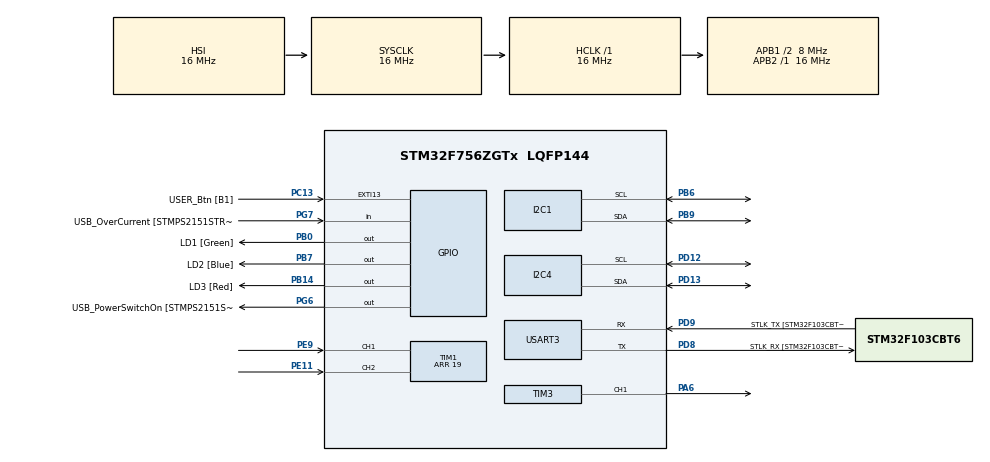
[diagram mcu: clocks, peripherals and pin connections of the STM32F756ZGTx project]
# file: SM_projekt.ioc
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I2C1.Timing=0x2000090E
I2C4.Timing=0x2000090E
Mcu.Family=STM32F7
Mcu.Name=STM32F756ZGTx
Mcu.Package=LQFP144
NVIC.PriorityGroup=NVIC_PRIORITYGROUP_4
PA1.GPIO_Label=RMII_REF_CLK [LAN8742A-CZ-TR_REFCLK0]
PA1.Signal=ETH_REF_CLK
PA10.GPIO_Label=USB_ID
PA10.Signal=USB_OTG_FS_ID
PA11.GPIO_Label=USB_DM
PA11.Signal=USB_OTG_FS_DM
PA12.GPIO_Label=USB_DP
PA12.Signal=USB_OTG_FS_DP
PA13.GPIO_Label=TMS
PA13.Mode=Serial_Wire
PA13.Signal=SYS_JTMS-SWDIO
PA14.GPIO_Label=TCK
PA14.Mode=Serial_Wire
PA14.Signal=SYS_JTCK-SWCLK
PA2.GPIO_Label=RMII_MDIO [LAN8742A-CZ-TR_MDIO]
PA2.Signal=ETH_MDIO
PA6.Signal=S_TIM3_CH1
PA7.GPIO_Label=RMII_CRS_DV [LAN8742A-CZ-TR_CRS_DV]
PA7.Signal=ETH_CRS_DV
PA8.GPIO_Label=USB_SOF [TP1]
PA8.Signal=USB_OTG_FS_SOF
PA9.GPIO_Label=USB_VBUS
PA9.Signal=USB_OTG_FS_VBUS
PB0.GPIO_Label=LD1 [Green]
PB0.Signal=GPIO_Output
PB13.GPIO_Label=RMII_TXD1 [LAN8742A-CZ-TR_TXD1]
PB13.Signal=ETH_TXD1
PB14.GPIO_Label=LD3 [Red]
PB14.Signal=GPIO_Output
PB3.GPIO_Label=SW0
PB3.Signal=SYS_JTDO-SWO
PB6.Mode=I2C
PB6.Signal=I2C1_SCL
PB7.GPIO_Label=LD2 [Blue]
PB7.Signal=GPIO_Output
PB9.Mode=I2C
PB9.Signal=I2C1_SDA
PC1.GPIO_Label=RMII_MDC [LAN8742A-CZ-TR_MDC]
PC1.Signal=ETH_MDC
PC13.GPIO_Label=USER_Btn [B1]
PC13.Signal=GPXTI13
PC14/OSC32_IN.Signal=RCC_OSC32_IN
PC15/OSC32_OUT.Signal=RCC_OSC32_OUT
PC4.GPIO_Label=RMII_RXD0 [LAN8742A-CZ-TR_RXD0]
PC4.Signal=ETH_RXD0
PC5.GPIO_Label=RMII_RXD1 [LAN8742A-CZ-TR_RXD1]
PC5.Signal=ETH_RXD1
PD12.Mode=I2C
PD12.Signal=I2C4_SCL
PD13.Mode=I2C
PD13.Signal=I2C4_SDA
PD8.GPIO_Label=STLK_RX [STM32F103CBT6_PA3]
PD8.Mode=Asynchronous
PD8.Signal=USART3_TX
PD9.GPIO_Label=STLK_TX [STM32F103CBT6_PA2]
PD9.Mode=Asynchronous
PD9.Signal=USART3_RX
PE11.Signal=S_TIM1_CH2
PE9.Signal=S_TIM1_CH1
PG11.GPIO_Label=RMII_TX_EN [LAN8742A-CZ-TR_TXEN]
PG11.Signal=ETH_TX_EN
PG13.GPIO_Label=RMII_TXD0 [LAN8742A-CZ-TR_TXD0]
PG13.Signal=ETH_TXD0
PG6.GPIO_Label=USB_PowerSwitchOn [STMPS2151STR_EN]
PG6.Signal=GPIO_Output
PG7.GPIO_Label=USB_OverCurrent [STMPS2151STR_FAULT]
PG7.Signal=GPIO_Input
PH0/OSC_IN.GPIO_Label=MCO [STM32F103CBT6_PA8]
PH0/OSC_IN.Signal=RCC_OSC_IN
PH1/OSC_OUT.Signal=RCC_OSC_OUT
ProjectManager.HeapSize=0x200
ProjectManager.StackSize=0x400
ProjectManager.TargetToolchain=STM32CubeIDE
RCC.48MHZClocksFreq_Value=24000000
RCC.AHBFreq_Value=16000000
RCC.APB1CLKDivider=RCC_HCLK_DIV2
RCC.APB1Freq_Value=8000000
RCC.APB1TimFreq_Value=16000000
RCC.APB2Freq_Value=16000000
RCC.APB2TimFreq_Value=16000000
RCC.CortexFreq_Value=16000000
RCC.HCLKFreq_Value=16000000
RCC.HSE_VALUE=8000000
RCC.HSI_VALUE=16000000
RCC.LSE_VALUE=32768
RCC.PLLMUL=RCC_PLL_MUL9
RCC.PRESCALERUSB=RCC_USBCLKSOURCE_PLL_DIV1_5
RCC.SYSCLKFreq_VALUE=16000000
RCC.SYSCLKSourceVirtual=RCC_SYSCLKSOURCE_PLLCLK
RCC.USBFreq_Value=96000000
RCC.VCOOutputFreq_Value=192000000
SH.S_TIM1_CH1.0=TIM1_CH1,Encoder_Interface
SH.S_TIM1_CH2.0=TIM1_CH2,Encoder_Interface
SH.S_TIM3_CH1.0=TIM3_CH1,PWM Generation1 CH1
TIM1.Period=19
TIM3.AutoReloadPreload=TIM_AUTORELOAD_PRELOAD_ENABLE
TIM3.Channel-PWM\ Generation1\ CH1=TIM_CHANNEL_1
TIM3.Period=999
TIM3.Prescaler=71
USART3.VirtualMode-Asynchronous=VM_ASYNC
VP_TIM3_VS_ClockSourceINT.Mode=Internal
board=NUCLEO-F756ZG

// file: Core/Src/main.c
/* USER CODE BEGIN Header */
/**
  ******************************************************************************
  * @file           : main.c
  * @brief          : Main program body
  ******************************************************************************
  * @attention
  *
  * Copyright (c) 2022 STMicroelectronics.
  * All rights reserved.
  *
  * This software is licensed under terms that can be found in the LICENSE file
  * in the root directory of this software component.
  * If no LICENSE file comes with this software, it is provided AS-IS.
  *
  ******************************************************************************
  */
/* USER CODE END Header */
#include "main.h"

/* USER CODE BEGIN Includes */
#include "BMPXX80.h"
#include "i2c-lcd.h"
#include <stdio.h>
#include <stdint.h>

/* USER CODE END Includes */

/* USER CODE BEGIN PM */
//#define COUNTOF (_BUFFER_) (sizeof(_BUFFER_)/ sizeof(*(_BUFFER_)))
/* USER CODE END PM */

I2C_HandleTypeDef hi2c1;
I2C_HandleTypeDef hi2c4;

TIM_HandleTypeDef htim1;
TIM_HandleTypeDef htim3;

UART_HandleTypeDef huart3;

/* USER CODE BEGIN PV */
float temperature;
uint32_t pressure;
char text[50];
typedef struct{
	float Kp;
	float Ki;
	float Kd;
	float dt;
	float pre_err;
	float pre_int;
}pid_params;

const float dt=0.01;
pid_params pid1 = {.Kp=3,
				   .Ki=0.01,
				   .Kd=0.5,
				   .dt=dt,
				   .pre_err=0,
				   .pre_int=0};

float u_ster=0.0;
float impulsy=0;
float y_offset=22.0;
float y_ref;

/* USER CODE END PV */

void SystemClock_Config(void);
static void MX_GPIO_Init(void);
static void MX_I2C1_Init(void);
static void MX_TIM3_Init(void);
static void MX_I2C4_Init(void);
static void MX_USART3_UART_Init(void);
static void MX_TIM1_Init(void);

/* USER CODE BEGIN 0 */
float pid_controller(pid_params* pid, float y_ref, float y_measured){

	float  P, I, D, error, integral, derivative, u=0,PWM;
	uint16_t PWM_sat;

	//wyznaczanie uchybu
	error = y_ref-y_measured;

	//obliczanie części proporcjonalnej
	P = pid->Kp * error;

	//obliczanie części całkującej
	integral = pid->pre_int + (error + pid->pre_err);
	pid->pre_int = integral;
	I = pid->Ki*integral*(pid->dt/2.0);

	//obliczanie części różniczkującej
	derivative = (error - pid->pre_err)/pid->dt;
	pid->pre_err = error;

	D = pid->Kd*derivative;

	//wyznaczanie sygnału sterującego w postaci PWM z uwzględnieniem nasycenia
	u = P  + I + D;
	PWM=u*999.0;
	if(PWM>999.0)
	{
		PWM_sat=999;
	}
	else if(PWM<0.0)
	{
		PWM_sat=0;
	}
	else
	{
		PWM_sat=(uint16_t)PWM;
	}
	return PWM_sat;
}
/* USER CODE END 0 */

int main(void)
{

  /* MCU Configuration--------------------------------------------------------*/

  /* Reset of all peripherals, Initializes the Flash interface and the Systick. */
  HAL_Init();

  /* Configure the system clock */
  SystemClock_Config();

  /* Initialize all configured peripherals */
  MX_GPIO_Init();
  MX_I2C1_Init();
  MX_TIM3_Init();
  MX_I2C4_Init();
  MX_USART3_UART_Init();
  MX_TIM1_Init();
  /* USER CODE BEGIN 2 */
  BMP280_Init(&hi2c1, BMP280_TEMPERATURE_16BIT, BMP280_STANDARD, BMP280_FORCEDMODE);
  HAL_TIM_PWM_Start (&htim3, TIM_CHANNEL_1);
  lcd_init ();
  HAL_TIM_Encoder_Start(&htim1,TIM_CHANNEL_ALL);
  /* USER CODE END 2 */

  /* Infinite loop */
  while (1)
  {

    /* USER CODE BEGIN 3 */

	  //pobieranie wartości zadanej z enkodera
	  impulsy = __HAL_TIM_GET_COUNTER(&htim1);
	  y_ref=y_offset+(impulsy/4);

	  //pobieranie aktualnej temperatury
	  BMP280_ReadTemperatureAndPressure(&temperature, &pressure);

	  //wyznaczanie sygnału sterującego oraz podanie go w formie PWM
	  u_ster=pid_controller(&pid1, y_ref, temperature);
	  __HAL_TIM_SET_COMPARE(&htim3, TIM_CHANNEL_1, u_ster);

	  //obsługa wyświetlacza LCD
	  sprintf((char*)text, "%.2f, ", temperature);
	  lcd_clear ();
	  lcd_put_cur(0, 0);
	  sprintf((char*)text, "Temp akt: %.2fC", temperature);
	  lcd_send_string(text);
	  lcd_put_cur(1, 0);
	  sprintf((char*)text, "Zadana: %.2fC", y_ref);
	  lcd_send_string(text);

	  //obsługa wysyłania danych przez port szeregowy
	  uint16_t len = sprintf((char*)text,"%.2f,%.2f\n\r",temperature,u_ster);
	  HAL_UART_Transmit(&huart3, (uint8_t*)text,len,50);
	  HAL_Delay(10);

  }
  /* USER CODE END 3 */
}

void SystemClock_Config(void)
{
  RCC_OscInitTypeDef RCC_OscInitStruct = {0};
  RCC_ClkInitTypeDef RCC_ClkInitStruct = {0};

  /** Configure the main internal regulator output voltage
  */
  __HAL_RCC_PWR_CLK_ENABLE();
  __HAL_PWR_VOLTAGESCALING_CONFIG(PWR_REGULATOR_VOLTAGE_SCALE3);
  /** Initializes the RCC Oscillators according to the specified parameters
  * in the RCC_OscInitTypeDef structure.
  */
  RCC_OscInitStruct.OscillatorType = RCC_OSCILLATORTYPE_HSI;
  RCC_OscInitStruct.HSIState = RCC_HSI_ON;
  RCC_OscInitStruct.HSICalibrationValue = RCC_HSICALIBRATION_DEFAULT;
  RCC_OscInitStruct.PLL.PLLState = RCC_PLL_NONE;
  if (HAL_RCC_OscConfig(&RCC_OscInitStruct) != HAL_OK)
  {
    Error_Handler();
  }
  /** Initializes the CPU, AHB and APB buses clocks
  */
  RCC_ClkInitStruct.ClockType = RCC_CLOCKTYPE_HCLK|RCC_CLOCKTYPE_SYSCLK
                              |RCC_CLOCKTYPE_PCLK1|RCC_CLOCKTYPE_PCLK2;
  RCC_ClkInitStruct.SYSCLKSource = RCC_SYSCLKSOURCE_HSI;
  RCC_ClkInitStruct.AHBCLKDivider = RCC_SYSCLK_DIV1;
  RCC_ClkInitStruct.APB1CLKDivider = RCC_HCLK_DIV2;
  RCC_ClkInitStruct.APB2CLKDivider = RCC_HCLK_DIV1;

  if (HAL_RCC_ClockConfig(&RCC_ClkInitStruct, FLASH_LATENCY_0) != HAL_OK)
  {
    Error_Handler();
  }
}

static void MX_I2C1_Init(void)
{

  hi2c1.Instance = I2C1;
  hi2c1.Init.Timing = 0x2000090E;
  hi2c1.Init.OwnAddress1 = 0;
  hi2c1.Init.AddressingMode = I2C_ADDRESSINGMODE_7BIT;
  hi2c1.Init.DualAddressMode = I2C_DUALADDRESS_DISABLE;
  hi2c1.Init.OwnAddress2 = 0;
  hi2c1.Init.OwnAddress2Masks = I2C_OA2_NOMASK;
  hi2c1.Init.GeneralCallMode = I2C_GENERALCALL_DISABLE;
  hi2c1.Init.NoStretchMode = I2C_NOSTRETCH_DISABLE;
  if (HAL_I2C_Init(&hi2c1) != HAL_OK)
  {
    Error_Handler();
  }
  /** Configure Analogue filter
  */
  if (HAL_I2CEx_ConfigAnalogFilter(&hi2c1, I2C_ANALOGFILTER_ENABLE) != HAL_OK)
  {
    Error_Handler();
  }
  /** Configure Digital filter
  */
  if (HAL_I2CEx_ConfigDigitalFilter(&hi2c1, 0) != HAL_OK)
  {
    Error_Handler();
  }

}

static void MX_I2C4_Init(void)
{

  hi2c4.Instance = I2C4;
  hi2c4.Init.Timing = 0x2000090E;
  hi2c4.Init.OwnAddress1 = 0;
  hi2c4.Init.AddressingMode = I2C_ADDRESSINGMODE_7BIT;
  hi2c4.Init.DualAddressMode = I2C_DUALADDRESS_DISABLE;
  hi2c4.Init.OwnAddress2 = 0;
  hi2c4.Init.OwnAddress2Masks = I2C_OA2_NOMASK;
  hi2c4.Init.GeneralCallMode = I2C_GENERALCALL_DISABLE;
  hi2c4.Init.NoStretchMode = I2C_NOSTRETCH_DISABLE;
  if (HAL_I2C_Init(&hi2c4) != HAL_OK)
  {
    Error_Handler();
  }
  /** Configure Analogue filter
  */
  if (HAL_I2CEx_ConfigAnalogFilter(&hi2c4, I2C_ANALOGFILTER_ENABLE) != HAL_OK)
  {
    Error_Handler();
  }
  /** Configure Digital filter
  */
  if (HAL_I2CEx_ConfigDigitalFilter(&hi2c4, 0) != HAL_OK)
  {
    Error_Handler();
  }

}

static void MX_TIM1_Init(void)
{

  TIM_Encoder_InitTypeDef sConfig = {0};
  TIM_MasterConfigTypeDef sMasterConfig = {0};

  htim1.Instance = TIM1;
  htim1.Init.Prescaler = 0;
  htim1.Init.CounterMode = TIM_COUNTERMODE_UP;
  htim1.Init.Period = 19;
  htim1.Init.ClockDivision = TIM_CLOCKDIVISION_DIV1;
  htim1.Init.RepetitionCounter = 0;
  htim1.Init.AutoReloadPreload = TIM_AUTORELOAD_PRELOAD_DISABLE;
  sConfig.EncoderMode = TIM_ENCODERMODE_TI1;
  sConfig.IC1Polarity = TIM_ICPOLARITY_RISING;
  sConfig.IC1Selection = TIM_ICSELECTION_DIRECTTI;
  sConfig.IC1Prescaler = TIM_ICPSC_DIV1;
  sConfig.IC1Filter = 0;
  sConfig.IC2Polarity = TIM_ICPOLARITY_RISING;
  sConfig.IC2Selection = TIM_ICSELECTION_DIRECTTI;
  sConfig.IC2Prescaler = TIM_ICPSC_DIV1;
  sConfig.IC2Filter = 0;
  if (HAL_TIM_Encoder_Init(&htim1, &sConfig) != HAL_OK)
  {
    Error_Handler();
  }
  sMasterConfig.MasterOutputTrigger = TIM_TRGO_RESET;
  sMasterConfig.MasterOutputTrigger2 = TIM_TRGO2_RESET;
  sMasterConfig.MasterSlaveMode = TIM_MASTERSLAVEMODE_DISABLE;
  if (HAL_TIMEx_MasterConfigSynchronization(&htim1, &sMasterConfig) != HAL_OK)
  {
    Error_Handler();
  }

}

static void MX_TIM3_Init(void)
{

  TIM_ClockConfigTypeDef sClockSourceConfig = {0};
  TIM_MasterConfigTypeDef sMasterConfig = {0};
  TIM_OC_InitTypeDef sConfigOC = {0};

  htim3.Instance = TIM3;
  htim3.Init.Prescaler = 71;
  htim3.Init.CounterMode = TIM_COUNTERMODE_UP;
  htim3.Init.Period = 999;
  htim3.Init.ClockDivision = TIM_CLOCKDIVISION_DIV1;
  htim3.Init.AutoReloadPreload = TIM_AUTORELOAD_PRELOAD_ENABLE;
  if (HAL_TIM_Base_Init(&htim3) != HAL_OK)
  {
    Error_Handler();
  }
  sClockSourceConfig.ClockSource = TIM_CLOCKSOURCE_INTERNAL;
  if (HAL_TIM_ConfigClockSource(&htim3, &sClockSourceConfig) != HAL_OK)
  {
    Error_Handler();
  }
  if (HAL_TIM_PWM_Init(&htim3) != HAL_OK)
  {
    Error_Handler();
  }
  sMasterConfig.MasterOutputTrigger = TIM_TRGO_RESET;
  sMasterConfig.MasterSlaveMode = TIM_MASTERSLAVEMODE_DISABLE;
  if (HAL_TIMEx_MasterConfigSynchronization(&htim3, &sMasterConfig) != HAL_OK)
  {
    Error_Handler();
  }
  sConfigOC.OCMode = TIM_OCMODE_PWM1;
  sConfigOC.Pulse = 0;
  sConfigOC.OCPolarity = TIM_OCPOLARITY_HIGH;
  sConfigOC.OCFastMode = TIM_OCFAST_DISABLE;
  if (HAL_TIM_PWM_ConfigChannel(&htim3, &sConfigOC, TIM_CHANNEL_1) != HAL_OK)
  {
    Error_Handler();
  }
  HAL_TIM_MspPostInit(&htim3);

}

static void MX_USART3_UART_Init(void)
{

  huart3.Instance = USART3;
  huart3.Init.BaudRate = 115200;
  huart3.Init.WordLength = UART_WORDLENGTH_8B;
  huart3.Init.StopBits = UART_STOPBITS_1;
  huart3.Init.Parity = UART_PARITY_NONE;
  huart3.Init.Mode = UART_MODE_TX_RX;
  huart3.Init.HwFlowCtl = UART_HWCONTROL_NONE;
  huart3.Init.OverSampling = UART_OVERSAMPLING_16;
  huart3.Init.OneBitSampling = UART_ONE_BIT_SAMPLE_DISABLE;
  huart3.AdvancedInit.AdvFeatureInit = UART_ADVFEATURE_NO_INIT;
  if (HAL_UART_Init(&huart3) != HAL_OK)
  {
    Error_Handler();
  }

}

static void MX_GPIO_Init(void)
{
  GPIO_InitTypeDef GPIO_InitStruct = {0};

  /* GPIO Ports Clock Enable */
  __HAL_RCC_GPIOC_CLK_ENABLE();
  __HAL_RCC_GPIOH_CLK_ENABLE();
  __HAL_RCC_GPIOA_CLK_ENABLE();
  __HAL_RCC_GPIOB_CLK_ENABLE();
  __HAL_RCC_GPIOE_CLK_ENABLE();
  __HAL_RCC_GPIOD_CLK_ENABLE();
  __HAL_RCC_GPIOG_CLK_ENABLE();

  /*Configure GPIO pin Output Level */
  HAL_GPIO_WritePin(GPIOB, LD1_Pin|LD3_Pin|LD2_Pin, GPIO_PIN_RESET);

  /*Configure GPIO pin Output Level */
  HAL_GPIO_WritePin(USB_PowerSwitchOn_GPIO_Port, USB_PowerSwitchOn_Pin, GPIO_PIN_RESET);

  /*Configure GPIO pin : USER_Btn_Pin */
  GPIO_InitStruct.Pin = USER_Btn_Pin;
  GPIO_InitStruct.Mode = GPIO_MODE_IT_RISING;
  GPIO_InitStruct.Pull = GPIO_NOPULL;
  HAL_GPIO_Init(USER_Btn_GPIO_Port, &GPIO_InitStruct);

  /*Configure GPIO pins : RMII_MDC_Pin RMII_RXD0_Pin RMII_RXD1_Pin */
  GPIO_InitStruct.Pin = RMII_MDC_Pin|RMII_RXD0_Pin|RMII_RXD1_Pin;
  GPIO_InitStruct.Mode = GPIO_MODE_AF_PP;
  GPIO_InitStruct.Pull = GPIO_NOPULL;
  GPIO_InitStruct.Speed = GPIO_SPEED_FREQ_VERY_HIGH;
  GPIO_InitStruct.Alternate = GPIO_AF11_ETH;
  HAL_GPIO_Init(GPIOC, &GPIO_InitStruct);

  /*Configure GPIO pins : RMII_REF_CLK_Pin RMII_MDIO_Pin RMII_CRS_DV_Pin */
  GPIO_InitStruct.Pin = RMII_REF_CLK_Pin|RMII_MDIO_Pin|RMII_CRS_DV_Pin;
  GPIO_InitStruct.Mode = GPIO_MODE_AF_PP;
  GPIO_InitStruct.Pull = GPIO_NOPULL;
  GPIO_InitStruct.Speed = GPIO_SPEED_FREQ_VERY_HIGH;
  GPIO_InitStruct.Alternate = GPIO_AF11_ETH;
  HAL_GPIO_Init(GPIOA, &GPIO_InitStruct);

  /*Configure GPIO pins : LD1_Pin LD3_Pin LD2_Pin */
  GPIO_InitStruct.Pin = LD1_Pin|LD3_Pin|LD2_Pin;
  GPIO_InitStruct.Mode = GPIO_MODE_OUTPUT_PP;
  GPIO_InitStruct.Pull = GPIO_NOPULL;
  GPIO_InitStruct.Speed = GPIO_SPEED_FREQ_LOW;
  HAL_GPIO_Init(GPIOB, &GPIO_InitStruct);

  /*Configure GPIO pin : RMII_TXD1_Pin */
  GPIO_InitStruct.Pin = RMII_TXD1_Pin;
  GPIO_InitStruct.Mode = GPIO_MODE_AF_PP;
  GPIO_InitStruct.Pull = GPIO_NOPULL;
  GPIO_InitStruct.Speed = GPIO_SPEED_FREQ_VERY_HIGH;
  GPIO_InitStruct.Alternate = GPIO_AF11_ETH;
  HAL_GPIO_Init(RMII_TXD1_GPIO_Port, &GPIO_InitStruct);

  /*Configure GPIO pin : USB_PowerSwitchOn_Pin */
  GPIO_InitStruct.Pin = USB_PowerSwitchOn_Pin;
  GPIO_InitStruct.Mode = GPIO_MODE_OUTPUT_PP;
  GPIO_InitStruct.Pull = GPIO_NOPULL;
  GPIO_InitStruct.Speed = GPIO_SPEED_FREQ_LOW;
  HAL_GPIO_Init(USB_PowerSwitchOn_GPIO_Port, &GPIO_InitStruct);

  /*Configure GPIO pin : USB_OverCurrent_Pin */
  GPIO_InitStruct.Pin = USB_OverCurrent_Pin;
  GPIO_InitStruct.Mode = GPIO_MODE_INPUT;
  GPIO_InitStruct.Pull = GPIO_NOPULL;
  HAL_GPIO_Init(USB_OverCurrent_GPIO_Port, &GPIO_InitStruct);

  /*Configure GPIO pins : USB_SOF_Pin USB_ID_Pin USB_DM_Pin USB_DP_Pin */
  GPIO_InitStruct.Pin = USB_SOF_Pin|USB_ID_Pin|USB_DM_Pin|USB_DP_Pin;
  GPIO_InitStruct.Mode = GPIO_MODE_AF_PP;
  GPIO_InitStruct.Pull = GPIO_NOPULL;
  GPIO_InitStruct.Speed = GPIO_SPEED_FREQ_VERY_HIGH;
  GPIO_InitStruct.Alternate = GPIO_AF10_OTG_FS;
  HAL_GPIO_Init(GPIOA, &GPIO_InitStruct);

  /*Configure GPIO pin : USB_VBUS_Pin */
  GPIO_InitStruct.Pin = USB_VBUS_Pin;
  GPIO_InitStruct.Mode = GPIO_MODE_INPUT;
  GPIO_InitStruct.Pull = GPIO_NOPULL;
  HAL_GPIO_Init(USB_VBUS_GPIO_Port, &GPIO_InitStruct);

  /*Configure GPIO pins : RMII_TX_EN_Pin RMII_TXD0_Pin */
  GPIO_InitStruct.Pin = RMII_TX_EN_Pin|RMII_TXD0_Pin;
  GPIO_InitStruct.Mode = GPIO_MODE_AF_PP;
  GPIO_InitStruct.Pull = GPIO_NOPULL;
  GPIO_InitStruct.Speed = GPIO_SPEED_FREQ_VERY_HIGH;
  GPIO_InitStruct.Alternate = GPIO_AF11_ETH;
  HAL_GPIO_Init(GPIOG, &GPIO_InitStruct);

}

void Error_Handler(void)
{
  __disable_irq();
  while (1)
  {
  }
}
